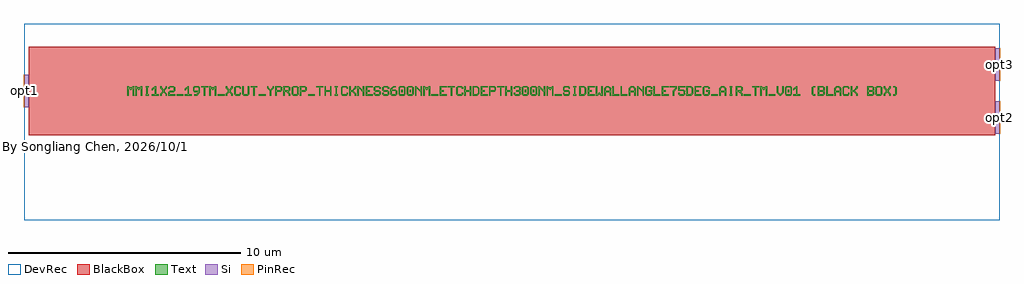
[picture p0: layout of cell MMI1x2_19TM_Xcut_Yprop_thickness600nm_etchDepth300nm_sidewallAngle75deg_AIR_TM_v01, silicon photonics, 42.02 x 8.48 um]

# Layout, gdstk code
import gdstk
lib = gdstk.Library(unit=1e-6, precision=1e-10)
def R(c, l, rs):  # rectangles x0, y0, x1, y1
    for r in rs: c.add(gdstk.rectangle(r[:2], r[2:], *l))
def A(c, l, x, y, w, h, nx, ny, dx, dy):  # array of equal rectangles
    R(c, l, [(x+i*dx, y+j*dy, x+i*dx+w, y+j*dy+h) for i in range(nx) for j in range(ny)])
def P(c, l, *ps):  # polygons
    for p in ps: c.add(gdstk.Polygon(p, *l))
Si = (1, 0)
PinRec = (1, 10)
Text = (10, 0)
DevRec = (68, 0)
BlackBox = (998, 0)

text = lib.new_cell('TEXT')
A(text, Text, 2.124, 0, 0.295, 0.059, 3, 1, 1.77, 0)
A(text, Text, 7.788, 0, 0.295, 0.059, 3, 1, 5.31, 0)
R(text, Text, [(25.134,0,25.429,0.059), (26.55,0,26.845,0.059), (27.612,0,27.907,0.059), (11.8,0.148,11.859,0.266), (12.154,0.148,12.213,0.266), (17.11,0.148,17.169,0.266), (17.464,0.148,17.523,0.266), (28.438,0.148,28.497,0.266)])
P(text, Text, [(0,0),(0,0.413),(0.059,0.413),(0.118,0.354),(0.177,0.354),(0.236,0.413),(0.295,0.413),(0.295,0),(0.236,0),(0.236,0.295),(0.207,0.295),(0.148,0.236),(0.089,0.295),(0.059,0.295),(0.059,0)],
  [(0.354,0),(0.354,0.413),(0.413,0.413),(0.472,0.354),(0.531,0.354),(0.59,0.413),(0.649,0.413),(0.649,0),(0.59,0),(0.59,0.295),(0.561,0.295),(0.502,0.236),(0.443,0.295),(0.413,0.295),(0.413,0)],
  [(0.797,0),(0.797,0.059),(0.826,0.059),(0.826,0.354),(0.797,0.354),(0.797,0.413),(0.915,0.413),(0.915,0.354),(0.885,0.354),(0.885,0.059),(0.915,0.059),(0.915,0)],
  [(1.062,0),(1.062,0.059),(1.18,0.059),(1.18,0.295),(1.151,0.295),(1.092,0.236),(1.062,0.236),(1.062,0.295),(1.18,0.413),(1.239,0.413),(1.239,0.059),(1.357,0.059),(1.357,0)],
  [(1.416,0),(1.416,0.089),(1.505,0.177),(1.505,0.236),(1.416,0.325),(1.416,0.413),(1.475,0.413),(1.475,0.354),(1.564,0.266),(1.652,0.354),(1.652,0.413),(1.711,0.413),(1.711,0.325),(1.623,0.236),(1.623,0.177),(1.711,0.089),(1.711,0),(1.652,0),(1.652,0.059),(1.564,0.148),(1.475,0.059),(1.475,0)],
  [(1.77,0),(1.77,0.148),(1.829,0.207),(1.977,0.207),(2.006,0.236),(2.006,0.325),(1.977,0.354),(1.859,0.354),(1.829,0.325),(1.829,0.295),(1.77,0.295),(1.77,0.354),(1.829,0.413),(2.006,0.413),(2.065,0.354),(2.065,0.207),(2.006,0.148),(1.859,0.148),(1.829,0.118),(1.829,0.059),(2.065,0.059),(2.065,0)],
  [(2.478,0),(2.478,0.059),(2.596,0.059),(2.596,0.295),(2.567,0.295),(2.508,0.236),(2.478,0.236),(2.478,0.295),(2.596,0.413),(2.655,0.413),(2.655,0.059),(2.773,0.059),(2.773,0)],
  [(2.891,0),(2.891,0.059),(2.98,0.059),(3.039,0.118),(3.039,0.148),(2.891,0.148),(2.832,0.207),(3.039,0.207),(3.068,0.236),(3.068,0.325),(3.039,0.354),(2.921,0.354),(2.891,0.325),(2.891,0.236),(2.921,0.207),(2.832,0.207),(2.832,0.354),(2.891,0.413),(3.068,0.413),(3.127,0.354),(3.127,0.118),(3.009,0)],
  [(3.304,0),(3.304,0.354),(3.186,0.354),(3.186,0.413),(3.481,0.413),(3.481,0.354),(3.363,0.354),(3.363,0)],
  [(3.54,0),(3.54,0.413),(3.599,0.413),(3.658,0.354),(3.717,0.354),(3.776,0.413),(3.835,0.413),(3.835,0),(3.776,0),(3.776,0.295),(3.747,0.295),(3.688,0.236),(3.629,0.295),(3.599,0.295),(3.599,0)],
  [(4.248,0),(4.248,0.089),(4.337,0.177),(4.337,0.236),(4.248,0.325),(4.248,0.413),(4.307,0.413),(4.307,0.354),(4.396,0.266),(4.484,0.354),(4.484,0.413),(4.543,0.413),(4.543,0.325),(4.455,0.236),(4.455,0.177),(4.543,0.089),(4.543,0),(4.484,0),(4.484,0.059),(4.396,0.148),(4.307,0.059),(4.307,0)],
  [(4.661,0),(4.602,0.059),(4.602,0.354),(4.661,0.413),(4.838,0.413),(4.897,0.354),(4.897,0.295),(4.838,0.295),(4.838,0.325),(4.809,0.354),(4.691,0.354),(4.661,0.325),(4.661,0.089),(4.691,0.059),(4.809,0.059),(4.838,0.089),(4.838,0.118),(4.897,0.118),(4.897,0.059),(4.838,0)],
  [(5.015,0),(4.956,0.059),(4.956,0.413),(5.015,0.413),(5.015,0.089),(5.045,0.059),(5.163,0.059),(5.192,0.089),(5.192,0.413),(5.251,0.413),(5.251,0.059),(5.192,0)],
  [(5.428,0),(5.428,0.354),(5.31,0.354),(5.31,0.413),(5.605,0.413),(5.605,0.354),(5.487,0.354),(5.487,0)],
  [(6.136,0),(6.136,0.207),(6.018,0.325),(6.018,0.413),(6.077,0.413),(6.077,0.354),(6.166,0.266),(6.254,0.354),(6.254,0.413),(6.313,0.413),(6.313,0.325),(6.195,0.207),(6.195,0)],
  [(6.372,0),(6.372,0.413),(6.608,0.413),(6.667,0.354),(6.667,0.236),(6.608,0.177),(6.431,0.177),(6.431,0.236),(6.579,0.236),(6.608,0.266),(6.608,0.325),(6.579,0.354),(6.431,0.354),(6.431,0)],
  [(6.726,0),(6.726,0.413),(6.962,0.413),(7.021,0.354),(6.785,0.354),(6.785,0.236),(6.933,0.236),(6.962,0.266),(6.962,0.325),(6.933,0.354),(7.021,0.354),(7.021,0.236),(6.962,0.177),(6.962,0.148),(7.021,0.089),(7.021,0),(6.962,0),(6.962,0.059),(6.844,0.177),(6.785,0.177),(6.785,0)],
  [(7.139,0),(7.08,0.059),(7.08,0.354),(7.139,0.413),(7.316,0.413),(7.375,0.354),(7.375,0.207),(7.316,0.207),(7.316,0.325),(7.287,0.354),(7.169,0.354),(7.139,0.325),(7.139,0.089),(7.169,0.059),(7.287,0.059),(7.316,0.089),(7.316,0.207),(7.375,0.207),(7.375,0.059),(7.316,0)],
  [(7.434,0),(7.434,0.413),(7.67,0.413),(7.729,0.354),(7.729,0.236),(7.67,0.177),(7.493,0.177),(7.493,0.236),(7.641,0.236),(7.67,0.266),(7.67,0.325),(7.641,0.354),(7.493,0.354),(7.493,0)],
  [(8.26,0),(8.26,0.354),(8.142,0.354),(8.142,0.413),(8.437,0.413),(8.437,0.354),(8.319,0.354),(8.319,0)],
  [(8.496,0),(8.496,0.413),(8.555,0.413),(8.555,0.236),(8.732,0.236),(8.732,0.413),(8.791,0.413),(8.791,0),(8.732,0),(8.732,0.177),(8.555,0.177),(8.555,0)],
  [(8.939,0),(8.939,0.059),(8.968,0.059),(8.968,0.354),(8.939,0.354),(8.939,0.413),(9.057,0.413),(9.057,0.354),(9.027,0.354),(9.027,0.059),(9.057,0.059),(9.057,0)],
  [(9.263,0),(9.204,0.059),(9.204,0.354),(9.263,0.413),(9.44,0.413),(9.499,0.354),(9.499,0.295),(9.44,0.295),(9.44,0.325),(9.411,0.354),(9.293,0.354),(9.263,0.325),(9.263,0.089),(9.293,0.059),(9.411,0.059),(9.44,0.089),(9.44,0.118),(9.499,0.118),(9.499,0.059),(9.44,0)],
  [(9.558,0),(9.558,0.413),(9.617,0.413),(9.617,0.236),(9.676,0.236),(9.794,0.354),(9.794,0.413),(9.853,0.413),(9.853,0.325),(9.735,0.207),(9.853,0.089),(9.853,0),(9.794,0),(9.794,0.059),(9.676,0.177),(9.617,0.177),(9.617,0)],
  [(9.912,0),(9.912,0.413),(9.971,0.413),(10.119,0.266),(10.148,0.266),(10.148,0.413),(10.207,0.413),(10.207,0),(10.148,0),(10.148,0.148),(10.001,0.295),(9.971,0.295),(9.971,0)],
  [(10.266,0),(10.266,0.413),(10.561,0.413),(10.561,0.354),(10.325,0.354),(10.325,0.236),(10.443,0.236),(10.443,0.177),(10.325,0.177),(10.325,0.059),(10.561,0.059),(10.561,0)],
  [(10.679,0),(10.62,0.059),(10.62,0.118),(10.679,0.118),(10.679,0.089),(10.709,0.059),(10.827,0.059),(10.856,0.089),(10.856,0.148),(10.827,0.177),(10.679,0.177),(10.62,0.236),(10.62,0.354),(10.679,0.413),(10.856,0.413),(10.915,0.354),(10.915,0.295),(10.856,0.295),(10.856,0.325),(10.827,0.354),(10.709,0.354),(10.679,0.325),(10.679,0.266),(10.709,0.236),(10.856,0.236),(10.915,0.177),(10.915,0.059),(10.856,0)],
  [(11.033,0),(10.974,0.059),(10.974,0.118),(11.033,0.118),(11.033,0.089),(11.063,0.059),(11.181,0.059),(11.21,0.089),(11.21,0.148),(11.181,0.177),(11.033,0.177),(10.974,0.236),(10.974,0.354),(11.033,0.413),(11.21,0.413),(11.269,0.354),(11.269,0.295),(11.21,0.295),(11.21,0.325),(11.181,0.354),(11.063,0.354),(11.033,0.325),(11.033,0.266),(11.063,0.236),(11.21,0.236),(11.269,0.177),(11.269,0.059),(11.21,0)],
  [(11.387,0),(11.328,0.059),(11.328,0.295),(11.446,0.413),(11.564,0.413),(11.564,0.354),(11.476,0.354),(11.417,0.295),(11.417,0.266),(11.564,0.266),(11.623,0.207),(11.417,0.207),(11.387,0.177),(11.387,0.089),(11.417,0.059),(11.535,0.059),(11.564,0.089),(11.564,0.177),(11.535,0.207),(11.623,0.207),(11.623,0.059),(11.564,0)],
  [(11.741,0),(11.682,0.059),(11.682,0.354),(11.741,0.413),(11.918,0.413),(11.977,0.354),(11.771,0.354),(11.741,0.325),(11.741,0.089),(11.771,0.059),(11.889,0.059),(11.918,0.089),(11.918,0.325),(11.889,0.354),(11.977,0.354),(11.977,0.059),(11.918,0)],
  [(12.095,0),(12.036,0.059),(12.036,0.354),(12.095,0.413),(12.272,0.413),(12.331,0.354),(12.125,0.354),(12.095,0.325),(12.095,0.089),(12.125,0.059),(12.243,0.059),(12.272,0.089),(12.272,0.325),(12.243,0.354),(12.331,0.354),(12.331,0.059),(12.272,0)],
  [(12.39,0),(12.39,0.413),(12.449,0.413),(12.597,0.266),(12.626,0.266),(12.626,0.413),(12.685,0.413),(12.685,0),(12.626,0),(12.626,0.148),(12.479,0.295),(12.449,0.295),(12.449,0)],
  [(12.744,0),(12.744,0.413),(12.803,0.413),(12.862,0.354),(12.921,0.354),(12.98,0.413),(13.039,0.413),(13.039,0),(12.98,0),(12.98,0.295),(12.951,0.295),(12.892,0.236),(12.833,0.295),(12.803,0.295),(12.803,0)],
  [(13.452,0),(13.452,0.413),(13.747,0.413),(13.747,0.354),(13.511,0.354),(13.511,0.236),(13.629,0.236),(13.629,0.177),(13.511,0.177),(13.511,0.059),(13.747,0.059),(13.747,0)],
  [(13.924,0),(13.924,0.354),(13.806,0.354),(13.806,0.413),(14.101,0.413),(14.101,0.354),(13.983,0.354),(13.983,0)],
  [(14.219,0),(14.16,0.059),(14.16,0.354),(14.219,0.413),(14.396,0.413),(14.455,0.354),(14.455,0.295),(14.396,0.295),(14.396,0.325),(14.367,0.354),(14.249,0.354),(14.219,0.325),(14.219,0.089),(14.249,0.059),(14.367,0.059),(14.396,0.089),(14.396,0.118),(14.455,0.118),(14.455,0.059),(14.396,0)],
  [(14.514,0),(14.514,0.413),(14.573,0.413),(14.573,0.236),(14.75,0.236),(14.75,0.413),(14.809,0.413),(14.809,0),(14.75,0),(14.75,0.177),(14.573,0.177),(14.573,0)],
  [(14.868,0),(14.868,0.413),(15.075,0.413),(15.134,0.354),(14.927,0.354),(14.927,0.059),(15.045,0.059),(15.104,0.118),(15.104,0.295),(15.045,0.354),(15.134,0.354),(15.163,0.325),(15.163,0.089),(15.075,0)],
  [(15.222,0),(15.222,0.413),(15.517,0.413),(15.517,0.354),(15.281,0.354),(15.281,0.236),(15.399,0.236),(15.399,0.177),(15.281,0.177),(15.281,0.059),(15.517,0.059),(15.517,0)],
  [(15.576,0),(15.576,0.413),(15.812,0.413),(15.871,0.354),(15.871,0.236),(15.812,0.177),(15.635,0.177),(15.635,0.236),(15.783,0.236),(15.812,0.266),(15.812,0.325),(15.783,0.354),(15.635,0.354),(15.635,0)],
  [(16.048,0),(16.048,0.354),(15.93,0.354),(15.93,0.413),(16.225,0.413),(16.225,0.354),(16.107,0.354),(16.107,0)],
  [(16.284,0),(16.284,0.413),(16.343,0.413),(16.343,0.236),(16.52,0.236),(16.52,0.413),(16.579,0.413),(16.579,0),(16.52,0),(16.52,0.177),(16.343,0.177),(16.343,0)],
  [(16.697,0),(16.638,0.059),(16.638,0.118),(16.697,0.118),(16.697,0.089),(16.727,0.059),(16.845,0.059),(16.874,0.089),(16.874,0.148),(16.845,0.177),(16.756,0.177),(16.756,0.236),(16.845,0.236),(16.874,0.266),(16.874,0.325),(16.845,0.354),(16.727,0.354),(16.697,0.325),(16.697,0.295),(16.638,0.295),(16.638,0.354),(16.697,0.413),(16.874,0.413),(16.933,0.354),(16.933,0.236),(16.904,0.207),(16.933,0.177),(16.933,0.059),(16.874,0)],
  [(17.051,0),(16.992,0.059),(16.992,0.354),(17.051,0.413),(17.228,0.413),(17.287,0.354),(17.081,0.354),(17.051,0.325),(17.051,0.089),(17.081,0.059),(17.199,0.059),(17.228,0.089),(17.228,0.325),(17.199,0.354),(17.287,0.354),(17.287,0.059),(17.228,0)],
  [(17.405,0),(17.346,0.059),(17.346,0.354),(17.405,0.413),(17.582,0.413),(17.641,0.354),(17.435,0.354),(17.405,0.325),(17.405,0.089),(17.435,0.059),(17.553,0.059),(17.582,0.089),(17.582,0.325),(17.553,0.354),(17.641,0.354),(17.641,0.059),(17.582,0)],
  [(17.7,0),(17.7,0.413),(17.759,0.413),(17.907,0.266),(17.936,0.266),(17.936,0.413),(17.995,0.413),(17.995,0),(17.936,0),(17.936,0.148),(17.789,0.295),(17.759,0.295),(17.759,0)],
  [(18.054,0),(18.054,0.413),(18.113,0.413),(18.172,0.354),(18.231,0.354),(18.29,0.413),(18.349,0.413),(18.349,0),(18.29,0),(18.29,0.295),(18.261,0.295),(18.202,0.236),(18.143,0.295),(18.113,0.295),(18.113,0)],
  [(18.821,0),(18.762,0.059),(18.762,0.118),(18.821,0.118),(18.821,0.089),(18.851,0.059),(18.969,0.059),(18.998,0.089),(18.998,0.148),(18.969,0.177),(18.821,0.177),(18.762,0.236),(18.762,0.354),(18.821,0.413),(18.998,0.413),(19.057,0.354),(19.057,0.295),(18.998,0.295),(18.998,0.325),(18.969,0.354),(18.851,0.354),(18.821,0.325),(18.821,0.266),(18.851,0.236),(18.998,0.236),(19.057,0.177),(19.057,0.059),(18.998,0)],
  [(19.205,0),(19.205,0.059),(19.234,0.059),(19.234,0.354),(19.205,0.354),(19.205,0.413),(19.323,0.413),(19.323,0.354),(19.293,0.354),(19.293,0.059),(19.323,0.059),(19.323,0)],
  [(19.47,0),(19.47,0.413),(19.677,0.413),(19.736,0.354),(19.529,0.354),(19.529,0.059),(19.647,0.059),(19.706,0.118),(19.706,0.295),(19.647,0.354),(19.736,0.354),(19.765,0.325),(19.765,0.089),(19.677,0)],
  [(19.824,0),(19.824,0.413),(20.119,0.413),(20.119,0.354),(19.883,0.354),(19.883,0.236),(20.001,0.236),(20.001,0.177),(19.883,0.177),(19.883,0.059),(20.119,0.059),(20.119,0)],
  [(20.178,0),(20.178,0.413),(20.237,0.413),(20.237,0.089),(20.267,0.089),(20.326,0.148),(20.385,0.089),(20.414,0.089),(20.414,0.413),(20.473,0.413),(20.473,0),(20.385,0),(20.326,0.059),(20.267,0)],
  [(20.532,0),(20.532,0.325),(20.621,0.413),(20.739,0.413),(20.798,0.354),(20.65,0.354),(20.591,0.295),(20.591,0.207),(20.768,0.207),(20.768,0.295),(20.709,0.354),(20.798,0.354),(20.827,0.325),(20.827,0),(20.768,0),(20.768,0.148),(20.591,0.148),(20.591,0)],
  [(20.886,0),(20.886,0.413),(20.945,0.413),(20.945,0.059),(21.181,0.059),(21.181,0)],
  [(21.24,0),(21.24,0.413),(21.299,0.413),(21.299,0.059),(21.535,0.059),(21.535,0)],
  [(21.594,0),(21.594,0.325),(21.683,0.413),(21.801,0.413),(21.86,0.354),(21.712,0.354),(21.653,0.295),(21.653,0.207),(21.83,0.207),(21.83,0.295),(21.771,0.354),(21.86,0.354),(21.889,0.325),(21.889,0),(21.83,0),(21.83,0.148),(21.653,0.148),(21.653,0)],
  [(21.948,0),(21.948,0.413),(22.007,0.413),(22.155,0.266),(22.184,0.266),(22.184,0.413),(22.243,0.413),(22.243,0),(22.184,0),(22.184,0.148),(22.037,0.295),(22.007,0.295),(22.007,0)],
  [(22.361,0),(22.302,0.059),(22.302,0.354),(22.361,0.413),(22.538,0.413),(22.597,0.354),(22.597,0.295),(22.538,0.295),(22.538,0.325),(22.509,0.354),(22.391,0.354),(22.361,0.325),(22.361,0.089),(22.391,0.059),(22.509,0.059),(22.538,0.089),(22.538,0.177),(22.45,0.177),(22.45,0.236),(22.597,0.236),(22.597,0.059),(22.538,0)],
  [(22.656,0),(22.656,0.413),(22.715,0.413),(22.715,0.059),(22.951,0.059),(22.951,0)],
  [(23.01,0),(23.01,0.413),(23.305,0.413),(23.305,0.354),(23.069,0.354),(23.069,0.236),(23.187,0.236),(23.187,0.177),(23.069,0.177),(23.069,0.059),(23.305,0.059),(23.305,0)],
  [(23.482,0),(23.482,0.207),(23.6,0.325),(23.6,0.354),(23.364,0.354),(23.364,0.413),(23.659,0.413),(23.659,0.295),(23.541,0.177),(23.541,0)],
  [(23.777,0),(23.718,0.059),(23.718,0.118),(23.777,0.118),(23.777,0.089),(23.807,0.059),(23.925,0.059),(23.954,0.089),(23.954,0.177),(23.925,0.207),(23.718,0.207),(23.718,0.413),(24.013,0.413),(24.013,0.354),(23.777,0.354),(23.777,0.266),(23.954,0.266),(24.013,0.207),(24.013,0.059),(23.954,0)],
  [(24.072,0),(24.072,0.413),(24.279,0.413),(24.338,0.354),(24.131,0.354),(24.131,0.059),(24.249,0.059),(24.308,0.118),(24.308,0.295),(24.249,0.354),(24.338,0.354),(24.367,0.325),(24.367,0.089),(24.279,0)],
  [(24.426,0),(24.426,0.413),(24.721,0.413),(24.721,0.354),(24.485,0.354),(24.485,0.236),(24.603,0.236),(24.603,0.177),(24.485,0.177),(24.485,0.059),(24.721,0.059),(24.721,0)],
  [(24.839,0),(24.78,0.059),(24.78,0.354),(24.839,0.413),(25.016,0.413),(25.075,0.354),(25.075,0.295),(25.016,0.295),(25.016,0.325),(24.987,0.354),(24.869,0.354),(24.839,0.325),(24.839,0.089),(24.869,0.059),(24.987,0.059),(25.016,0.089),(25.016,0.177),(24.928,0.177),(24.928,0.236),(25.075,0.236),(25.075,0.059),(25.016,0)],
  [(25.488,0),(25.488,0.325),(25.577,0.413),(25.695,0.413),(25.754,0.354),(25.606,0.354),(25.547,0.295),(25.547,0.207),(25.724,0.207),(25.724,0.295),(25.665,0.354),(25.754,0.354),(25.783,0.325),(25.783,0),(25.724,0),(25.724,0.148),(25.547,0.148),(25.547,0)],
  [(25.931,0),(25.931,0.059),(25.96,0.059),(25.96,0.354),(25.931,0.354),(25.931,0.413),(26.049,0.413),(26.049,0.354),(26.019,0.354),(26.019,0.059),(26.049,0.059),(26.049,0)],
  [(26.196,0),(26.196,0.413),(26.432,0.413),(26.491,0.354),(26.255,0.354),(26.255,0.236),(26.403,0.236),(26.432,0.266),(26.432,0.325),(26.403,0.354),(26.491,0.354),(26.491,0.236),(26.432,0.177),(26.432,0.148),(26.491,0.089),(26.491,0),(26.432,0),(26.432,0.059),(26.314,0.177),(26.255,0.177),(26.255,0)],
  [(27.022,0),(27.022,0.354),(26.904,0.354),(26.904,0.413),(27.199,0.413),(27.199,0.354),(27.081,0.354),(27.081,0)],
  [(27.258,0),(27.258,0.413),(27.317,0.413),(27.376,0.354),(27.435,0.354),(27.494,0.413),(27.553,0.413),(27.553,0),(27.494,0),(27.494,0.295),(27.465,0.295),(27.406,0.236),(27.347,0.295),(27.317,0.295),(27.317,0)],
  [(28.084,0),(27.966,0.118),(27.966,0.413),(28.025,0.413),(28.025,0.148),(28.114,0.059),(28.202,0.148),(28.202,0.413),(28.261,0.413),(28.261,0.118),(28.143,0)],
  [(28.379,0),(28.32,0.059),(28.32,0.354),(28.379,0.413),(28.556,0.413),(28.615,0.354),(28.409,0.354),(28.379,0.325),(28.379,0.089),(28.409,0.059),(28.527,0.059),(28.556,0.089),(28.556,0.325),(28.527,0.354),(28.615,0.354),(28.615,0.059),(28.556,0)],
  [(28.674,0),(28.674,0.059),(28.792,0.059),(28.792,0.295),(28.763,0.295),(28.704,0.236),(28.674,0.236),(28.674,0.295),(28.792,0.413),(28.851,0.413),(28.851,0.059),(28.969,0.059),(28.969,0)],
  [(29.53,0),(29.471,0.059),(29.471,0.354),(29.53,0.413),(29.618,0.413),(29.618,0.354),(29.559,0.354),(29.53,0.325),(29.53,0.089),(29.559,0.059),(29.618,0.059),(29.618,0)],
  [(29.736,0),(29.736,0.413),(29.972,0.413),(30.031,0.354),(29.795,0.354),(29.795,0.236),(29.943,0.236),(29.972,0.266),(29.972,0.325),(29.943,0.354),(30.031,0.354),(30.031,0.236),(30.002,0.207),(30.031,0.177),(29.795,0.177),(29.795,0.059),(29.943,0.059),(29.972,0.089),(29.972,0.148),(29.943,0.177),(30.031,0.177),(30.031,0.059),(29.972,0)],
  [(30.09,0),(30.09,0.413),(30.149,0.413),(30.149,0.059),(30.385,0.059),(30.385,0)],
  [(30.444,0),(30.444,0.325),(30.533,0.413),(30.651,0.413),(30.71,0.354),(30.562,0.354),(30.503,0.295),(30.503,0.207),(30.68,0.207),(30.68,0.295),(30.621,0.354),(30.71,0.354),(30.739,0.325),(30.739,0),(30.68,0),(30.68,0.148),(30.503,0.148),(30.503,0)],
  [(30.857,0),(30.798,0.059),(30.798,0.354),(30.857,0.413),(31.034,0.413),(31.093,0.354),(31.093,0.295),(31.034,0.295),(31.034,0.325),(31.005,0.354),(30.887,0.354),(30.857,0.325),(30.857,0.089),(30.887,0.059),(31.005,0.059),(31.034,0.089),(31.034,0.118),(31.093,0.118),(31.093,0.059),(31.034,0)],
  [(31.152,0),(31.152,0.413),(31.211,0.413),(31.211,0.236),(31.27,0.236),(31.388,0.354),(31.388,0.413),(31.447,0.413),(31.447,0.325),(31.329,0.207),(31.447,0.089),(31.447,0),(31.388,0),(31.388,0.059),(31.27,0.177),(31.211,0.177),(31.211,0)],
  [(31.86,0),(31.86,0.413),(32.096,0.413),(32.155,0.354),(31.919,0.354),(31.919,0.236),(32.067,0.236),(32.096,0.266),(32.096,0.325),(32.067,0.354),(32.155,0.354),(32.155,0.236),(32.126,0.207),(32.155,0.177),(31.919,0.177),(31.919,0.059),(32.067,0.059),(32.096,0.089),(32.096,0.148),(32.067,0.177),(32.155,0.177),(32.155,0.059),(32.096,0)],
  [(32.273,0),(32.214,0.059),(32.214,0.354),(32.273,0.413),(32.45,0.413),(32.509,0.354),(32.509,0.207),(32.45,0.207),(32.45,0.325),(32.421,0.354),(32.303,0.354),(32.273,0.325),(32.273,0.089),(32.303,0.059),(32.421,0.059),(32.45,0.089),(32.45,0.207),(32.509,0.207),(32.509,0.059),(32.45,0)],
  [(32.568,0),(32.568,0.089),(32.657,0.177),(32.657,0.236),(32.568,0.325),(32.568,0.413),(32.627,0.413),(32.627,0.354),(32.716,0.266),(32.804,0.354),(32.804,0.413),(32.863,0.413),(32.863,0.325),(32.775,0.236),(32.775,0.177),(32.863,0.089),(32.863,0),(32.804,0),(32.804,0.059),(32.716,0.148),(32.627,0.059),(32.627,0)],
  [(32.981,0),(32.981,0.059),(33.04,0.059),(33.07,0.089),(33.07,0.325),(33.04,0.354),(32.981,0.354),(32.981,0.413),(33.07,0.413),(33.129,0.354),(33.129,0.059),(33.07,0)])

mmi1x2_19tm_xcut_yprop_t = lib.new_cell('MMI1x2_19TM_Xcut_Yprop_thickness600nm_etchDepth300nm_sidewallAngle75deg_AIR_TM_v01')
R(mmi1x2_19tm_xcut_yprop_t, Si, [(20.8,-1.84,21,-0.44), (-21,-0.7,-20.8,0.7), (20.8,0.44,21,1.84)])
R(mmi1x2_19tm_xcut_yprop_t, DevRec, [(-21,-5.5788,21,2.9)])
R(mmi1x2_19tm_xcut_yprop_t, BlackBox, [(-20.8,-1.9,20.8,1.9)])
mmi1x2_19tm_xcut_yprop_t.add(gdstk.FlexPath([(-20.99,0),(-21.01,0)], 1.4, ends="flush", simple_path=True, layer=1, datatype=10))  # PinRec
mmi1x2_19tm_xcut_yprop_t.add(gdstk.FlexPath([(20.99,-1.14),(21.01,-1.14)], 1.4, ends="flush", simple_path=True, layer=1, datatype=10))  # PinRec
mmi1x2_19tm_xcut_yprop_t.add(gdstk.FlexPath([(20.99,1.14),(21.01,1.14)], 1.4, ends="flush", simple_path=True, layer=1, datatype=10))  # PinRec
mmi1x2_19tm_xcut_yprop_t.add(gdstk.Reference(text, (-16.5645,-0.2065)))
mmi1x2_19tm_xcut_yprop_t.add(gdstk.Label('opt1', (-21,0), layer=1, texttype=10))
mmi1x2_19tm_xcut_yprop_t.add(gdstk.Label('opt2', (21,-1.14), layer=1, texttype=10))
mmi1x2_19tm_xcut_yprop_t.add(gdstk.Label('opt3', (21,1.14), layer=1, texttype=10))
mmi1x2_19tm_xcut_yprop_t.add(gdstk.Label('By Songliang Chen, 2026/10/13', (-20.5,-2.4), layer=10, texttype=0))

lib.write_gds('MMI1x2_19TM_Xcut_Yprop_thickness600nm_etchDepth300nm_sidewallAngle75deg_AIR_TM_v01.gds')
